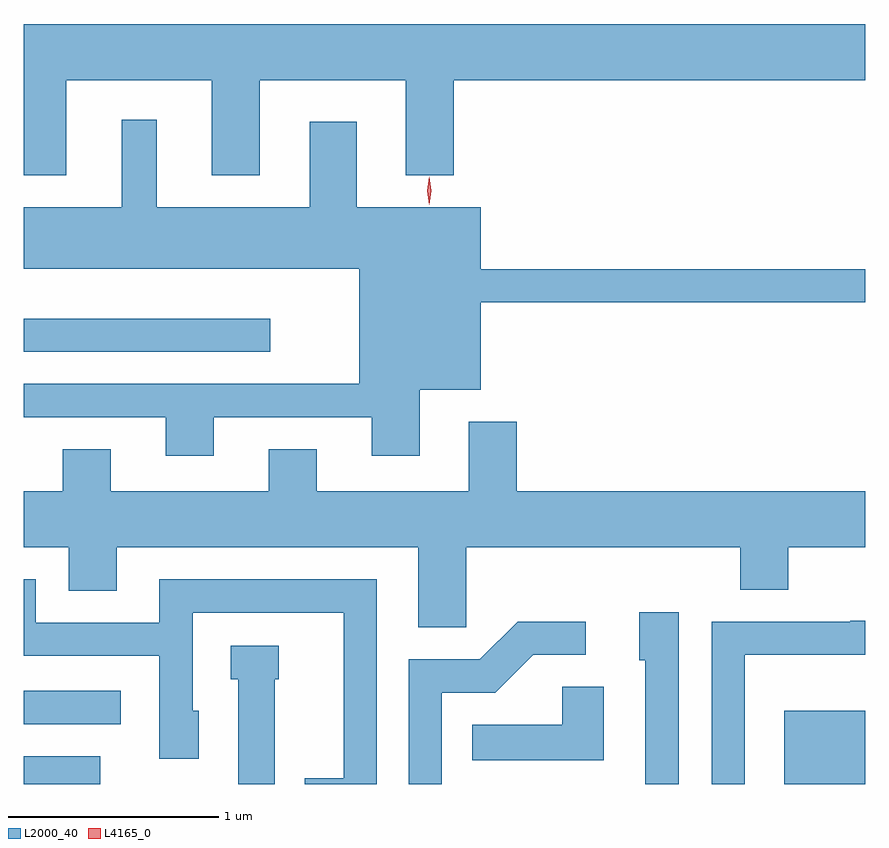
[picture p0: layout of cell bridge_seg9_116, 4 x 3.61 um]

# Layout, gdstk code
import gdstk
lib = gdstk.Library(unit=1e-6, precision=1e-09)
def R(c, l, rs):  # rectangles x0, y0, x1, y1
    for r in rs: c.add(gdstk.rectangle(r[:2], r[2:], *l))
def P(c, l, *ps):  # polygons
    for p in ps: c.add(gdstk.Polygon(p, *l))
L2000_40 = (2000, 40)
L4165_0 = (4165, 0)

bridge_seg9_116 = lib.new_cell('bridge_seg9_116')
R(bridge_seg9_116, L2000_40, [(1489.236,2017.332,1489.599,2017.464), (1492.851,2017.332,1493.236,2017.679), (1489.236,2017.616,1489.698,2017.774), (1489.236,2019.386,1490.408,2019.544)])
P(bridge_seg9_116, L2000_40, [(1489.439,2020.676),(1490.131,2020.676),(1490.131,2020.226),(1490.359,2020.226),(1490.359,2020.676),(1491.051,2020.676),(1491.051,2020.226),(1491.279,2020.226),(1491.279,2020.676),(1493.236,2020.676),(1493.236,2020.944),(1489.236,2020.944),(1489.236,2020.226),(1489.439,2020.226)],
  [(1490.139,2019.076),(1490.891,2019.076),(1490.891,2018.891),(1491.119,2018.891),(1491.119,2019.206),(1491.409,2019.206),(1491.409,2019.621),(1493.236,2019.621),(1493.236,2019.779),(1491.409,2019.779),(1491.409,2020.074),(1490.819,2020.074),(1490.819,2020.479),(1490.596,2020.479),(1490.596,2020.074),(1489.869,2020.074),(1489.869,2020.488),(1489.701,2020.488),(1489.701,2020.074),(1489.236,2020.074),(1489.236,2019.781),(1490.831,2019.781),(1490.831,2019.234),(1489.236,2019.234),(1489.236,2019.076),(1489.911,2019.076),(1489.911,2018.891),(1490.139,2018.891)],
  [(1491.339,2018.456),(1492.641,2018.456),(1492.641,2018.256),(1492.869,2018.256),(1492.869,2018.456),(1493.236,2018.456),(1493.236,2018.724),(1491.579,2018.724),(1491.579,2019.054),(1491.351,2019.054),(1491.351,2018.724),(1490.629,2018.724),(1490.629,2018.924),(1490.401,2018.924),(1490.401,2018.724),(1489.649,2018.724),(1489.649,2018.924),(1489.421,2018.924),(1489.421,2018.724),(1489.236,2018.724),(1489.236,2018.456),(1489.451,2018.456),(1489.451,2018.251),(1489.679,2018.251),(1489.679,2018.456),(1491.111,2018.456),(1491.111,2018.076),(1491.339,2018.076)],
  [(1490.914,2018.304),(1489.881,2018.304),(1489.881,2018.099),(1489.294,2018.099),(1489.294,2018.304),(1489.236,2018.304),(1489.236,2017.941),(1489.881,2017.941),(1489.881,2017.451),(1490.069,2017.451),(1490.069,2017.679),(1490.039,2017.679),(1490.039,2018.146),(1490.756,2018.146),(1490.756,2017.359),(1490.573,2017.359),(1490.573,2017.332),(1490.914,2017.332)],
  [(1492.349,2018.149),(1492.161,2018.149),(1492.161,2017.921),(1492.191,2017.921),(1492.191,2017.332),(1492.349,2017.332)],
  [(1492.664,2017.946),(1493.236,2017.946),(1493.236,2018.109),(1493.165,2018.109),(1493.165,2018.104),(1492.506,2018.104),(1492.506,2017.332),(1492.664,2017.332)],
  [(1491.224,2017.766),(1491.477,2017.766),(1491.657,2017.946),(1491.908,2017.946),(1491.908,2018.104),(1491.584,2018.104),(1491.404,2017.924),(1491.066,2017.924),(1491.066,2017.332),(1491.224,2017.332)],
  [(1490.429,2017.831),(1490.449,2017.831),(1490.449,2017.989),(1490.221,2017.989),(1490.221,2017.831),(1490.256,2017.831),(1490.256,2017.332),(1490.429,2017.332)],
  [(1491.994,2017.794),(1491.796,2017.794),(1491.796,2017.614),(1491.368,2017.614),(1491.368,2017.446),(1491.994,2017.446)])
P(bridge_seg9_116, L4165_0, [(1491.163,2020.086),(1491.163,2020.086),(1491.153,2020.152),(1491.163,2020.219),(1491.163,2020.219),(1491.164,2020.219),(1491.173,2020.152),(1491.164,2020.086)])

lib.write_gds('bridge_seg9_116.gds')
